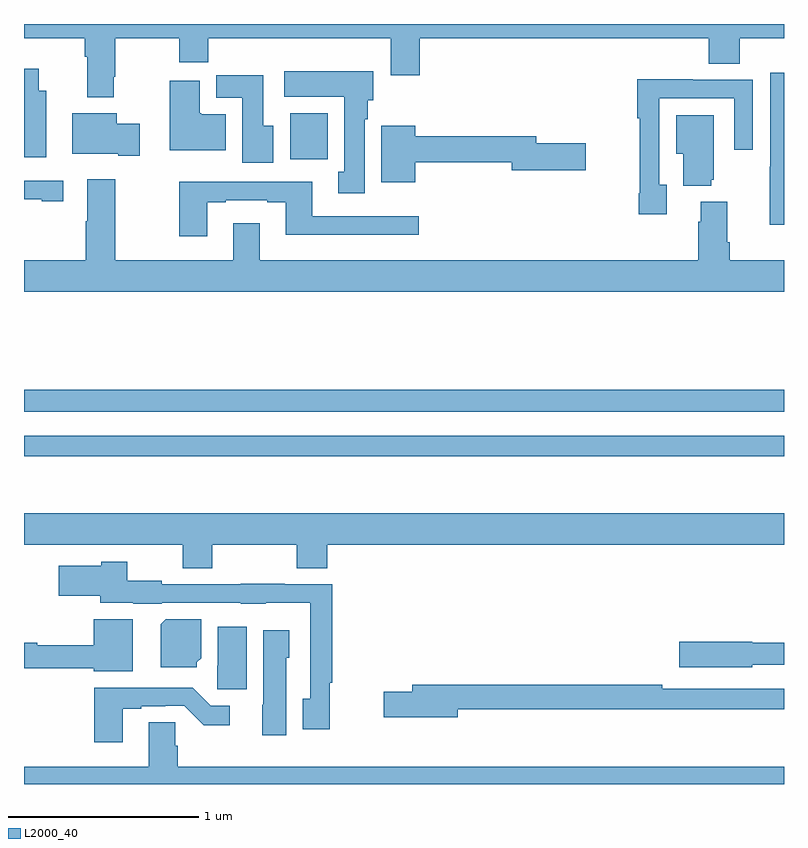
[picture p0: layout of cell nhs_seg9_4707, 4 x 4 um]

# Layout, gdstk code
import gdstk
lib = gdstk.Library(unit=1e-6, precision=1e-09)
def R(c, l, rs):  # rectangles x0, y0, x1, y1
    for r in rs: c.add(gdstk.rectangle(r[:2], r[2:], *l))
def P(c, l, *ps):  # polygons
    for p in ps: c.add(gdstk.Polygon(p, *l))
L2000_40 = (2000, 40)

nhs_seg9_4707 = lib.new_cell('nhs_seg9_4707')
R(nhs_seg9_4707, L2000_40, [(383,1190.226,387,1190.334), (383,1190.46,387,1190.576), (384.401,1191.788,384.598,1192.03)])
P(nhs_seg9_4707, L2000_40, [(383.473,1192.222),(383.481,1192.222),(383.481,1192.424),(383.818,1192.424),(383.818,1192.3),(383.969,1192.3),(383.969,1192.424),(384.929,1192.424),(384.929,1192.23),(385.082,1192.23),(385.082,1192.424),(386.603,1192.424),(386.603,1192.291),(386.768,1192.291),(386.768,1192.424),(387,1192.424),(387,1192.5),(383,1192.5),(383,1192.424),(383.321,1192.424),(383.321,1192.328),(383.333,1192.328),(383.333,1192.115),(383.473,1192.115)],
  [(383.116,1192.15),(383.077,1192.15),(383.077,1192.264),(383,1192.264),(383,1191.798),(383.116,1191.798)],
  [(384.793,1191.998),(384.808,1191.998),(384.808,1192.098),(384.838,1192.098),(384.838,1192.252),(384.369,1192.252),(384.369,1192.118),(384.686,1192.118),(384.686,1191.722),(384.653,1191.722),(384.653,1191.609),(384.793,1191.609)],
  [(387,1192.243),(386.928,1192.243),(386.928,1191.749),(386.926,1191.749),(386.926,1191.443),(387,1191.443)],
  [(384.313,1191.964),(384.259,1191.964),(384.259,1192.23),(384.011,1192.23),(384.011,1192.112),(384.149,1192.112),(384.149,1191.771),(384.313,1191.771)],
  [(386.383,1191.654),(386.343,1191.654),(386.343,1192.11),(386.739,1192.11),(386.739,1191.837),(386.835,1191.837),(386.835,1192.206),(386.519,1192.206),(386.519,1192.208),(386.227,1192.208),(386.227,1192.003),(386.242,1192.003),(386.242,1191.61),(386.235,1191.61),(386.235,1191.498),(386.383,1191.498)],
  [(384.061,1192.024),(383.932,1192.024),(383.932,1192.03),(383.926,1192.03),(383.926,1192.201),(383.768,1192.201),(383.768,1191.836),(384.061,1191.836)],
  [(383.608,1191.976),(383.488,1191.976),(383.488,1192.03),(383.255,1192.03),(383.255,1191.818),(383.495,1191.818),(383.495,1191.806),(383.608,1191.806)],
  [(386.618,1191.681),(386.629,1191.681),(386.629,1192.021),(386.432,1192.021),(386.432,1191.818),(386.471,1191.818),(386.471,1191.65),(386.618,1191.65)],
  [(385.06,1191.772),(385.568,1191.772),(385.568,1191.73),(385.957,1191.73),(385.957,1191.872),(385.696,1191.872),(385.696,1191.908),(385.06,1191.908),(385.06,1191.964),(384.881,1191.964),(384.881,1191.668),(385.06,1191.668)],
  [(387,1191.256),(386.714,1191.256),(386.714,1191.352),(386.701,1191.352),(386.701,1191.565),(386.561,1191.565),(386.561,1191.458),(386.549,1191.458),(386.549,1191.256),(384.241,1191.256),(384.241,1191.451),(384.101,1191.451),(384.101,1191.256),(383.481,1191.256),(383.481,1191.682),(383.333,1191.682),(383.333,1191.461),(383.326,1191.461),(383.326,1191.256),(383,1191.256),(383,1191.092),(387,1191.092)],
  [(383.206,1191.675),(383,1191.675),(383,1191.577),(383.093,1191.577),(383.093,1191.567),(383.206,1191.567)],
  [(383.965,1191.561),(384.061,1191.561),(384.061,1191.573),(384.281,1191.573),(384.281,1191.561),(384.377,1191.561),(384.377,1191.392),(385.078,1191.392),(385.078,1191.489),(384.517,1191.489),(384.517,1191.669),(384.053,1191.669),(384.053,1191.67),(383.818,1191.67),(383.818,1191.384),(383.965,1191.384)],
  [(383.991,1189.76),(384.436,1189.76),(384.436,1189.636),(384.596,1189.636),(384.596,1189.76),(387,1189.76),(387,1189.924),(383,1189.924),(383,1189.76),(383.836,1189.76),(383.836,1189.636),(383.991,1189.636)],
  [(384.608,1189.033),(384.623,1189.033),(384.623,1189.551),(384.373,1189.551),(384.373,1189.553),(384.141,1189.553),(384.141,1189.551),(383.724,1189.551),(383.724,1189.57),(383.544,1189.57),(383.544,1189.669),(383.406,1189.669),(383.406,1189.648),(383.184,1189.648),(383.184,1189.49),(383.402,1189.49),(383.402,1189.454),(383.574,1189.454),(383.574,1189.448),(383.724,1189.448),(383.724,1189.455),(384.141,1189.455),(384.141,1189.448),(384.273,1189.448),(384.273,1189.454),(384.507,1189.454),(384.507,1188.95),(384.467,1188.95),(384.467,1188.789),(384.608,1188.789)],
  [(383.572,1189.366),(383.366,1189.366),(383.366,1189.229),(383.07,1189.229),(383.07,1189.244),(383,1189.244),(383,1189.108),(383.366,1189.108),(383.366,1189.094),(383.572,1189.094)],
  [(383.91,1189.14),(383.932,1189.162),(383.932,1189.366),(383.746,1189.366),(383.72,1189.34),(383.72,1189.115),(383.91,1189.115)],
  [(384.172,1189.327),(384.02,1189.327),(384.02,1189.122),(384.016,1189.122),(384.016,1188.999),(384.172,1188.999)],
  [(384.379,1189.164),(384.397,1189.164),(384.397,1189.309),(384.26,1189.309),(384.26,1188.918),(384.254,1188.918),(384.254,1188.756),(384.379,1188.756)],
  [(386.832,1189.128),(387,1189.128),(387,1189.244),(386.832,1189.244),(386.832,1189.25),(386.448,1189.25),(386.448,1189.115),(386.832,1189.115)],
  [(385.282,1188.894),(387,1188.894),(387,1189.002),(386.36,1189.002),(386.36,1189.022),(385.043,1189.022),(385.043,1188.986),(384.894,1188.986),(384.894,1188.851),(385.282,1188.851)],
  [(383.521,1188.897),(383.617,1188.897),(383.617,1188.909),(383.744,1188.909),(383.744,1188.912),(383.844,1188.912),(383.947,1188.81),(384.082,1188.81),(384.082,1188.912),(383.982,1188.912),(383.888,1189.006),(383.369,1189.006),(383.369,1188.72),(383.521,1188.72)],
  [(387,1188.592),(383.81,1188.592),(383.81,1188.702),(383.796,1188.702),(383.796,1188.824),(383.657,1188.824),(383.657,1188.592),(383,1188.592),(383,1188.5),(387,1188.5)])

lib.write_gds('nhs_seg9_4707.gds')
